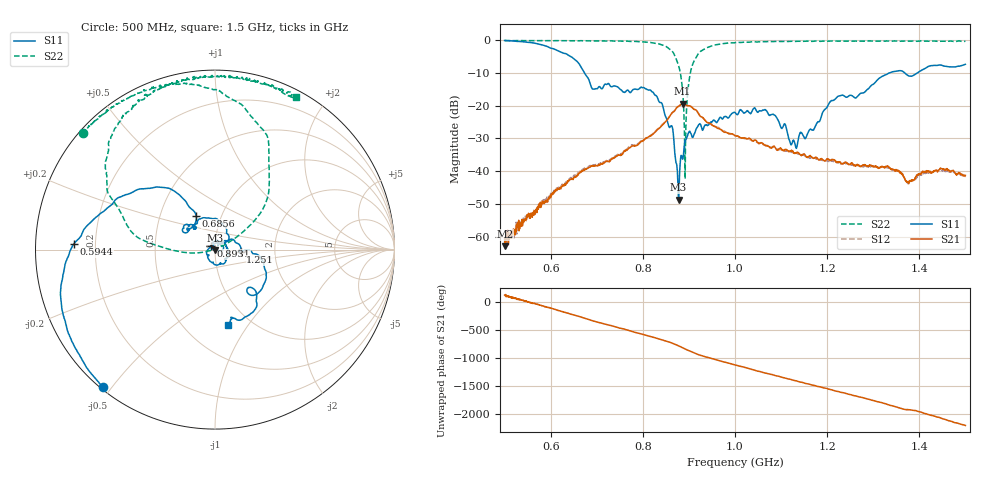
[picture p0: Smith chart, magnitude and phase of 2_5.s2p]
!Agilent Technologies,E8364B,US42250235,A.06.04.32
!Agilent E8364B: A.06.04.32
!Date: Friday, January 15, 2021 12:29:11
!Correction: S11(Full 2 Port(1,2)) S21(Full 2 Port(1,2)) S12(Full 2 Port(1,2)) S22(Full 2 Port(1,2))
!S2P File: Measurements: S11, S21, S12, S22:
# Hz S  dB  R 50
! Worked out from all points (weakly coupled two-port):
!   1601 points, 500 MHz to 1.5 GHz, reference 50 ohm
!   highest |S21| = -19.39 dB at 886.2 MHz (marker M1); lowest = -62.9 dB at 500.6 MHz (marker M2)
!   lowest |S11| = -48.7 dB at 877.5 MHz (marker M3), VSWR 1.01, Z = 50 - j0.366 ohm
!   |S11| at or under -10 dB: 673.1 MHz to 1.335 GHz (662.2 MHz wide, 65.9 % of centre); 1.368 GHz to 1.396 GHz (27.73 MHz wide, 2.01 % of centre)
!   |S22| runs from -42.3 to -0.1 dB; largest |S21 - S12| = 0.012
!   S11 on the Smith chart (normalised r, x): 500 MHz: 0.01, -0.48; 594.4 MHz: 0.12, +0.02; 685.6 MHz: 0.76, +0.30; 893.1 MHz: 0.96, +0.04; 1.251 GHz: 1.33, -0.03; 1.5 GHz: 0.79, -0.82
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5e8  -0.11 -129.1  -60.25 113.8  -61.35 117.9  -0.15 138.4
5.00625e8  -0.10 -129.4  -62.88 107.1  -62.25 122.6  -0.16 138.5
5.94375e8  -2.06 177.8  -48.59 -106.8  -48.12 -109.0  -0.16 129.7
6.66875e8  -8.46 123.8  -40.20 79.3  -39.72 74.6  -0.18 122.1
6.85625e8  -13.29 119.0  -38.63 31.7  -38.23 27.3  -0.23 120.1
8.3375e8  -18.35 57.4  -27.11 57.5  -26.92 50.8  -1.10 88.0
8.625e8  -26.12 15.0  -22.36 -17.9  -22.44 -24.2  -3.22 64.8
8.775e8  -48.69 -84.9  -20.22 -69.9  -20.19 -75.8  -7.76 44.5
8.8625e8  -36.33 146.6  -19.39 -104.3  -19.42 -110.5  -15.59 31.5
8.93125e8  -30.48 133.9  -19.79 -131.7  -19.80 -137.8  -27.63 -167.3
9.03125e8  -28.19 104.4  -20.12 -166.4  -20.12 -173.3  -9.98 176.3
9.18125e8  -26.63 92.5  -21.78 141.4  -21.89 135.1  -4.67 156.9
1e9  -22.09 -18.8  -29.23 -49.1  -29.03 -55.8  -0.78 120.4
1.065625e9  -21.26 -83.7  -32.19 166.5  -31.98 159.0  -0.49 109.9
1.13125e9  -32.36 113.8  -34.57 29.9  -34.37 21.4  -0.39 101.8
1.166875e9  -27.38 38.6  -35.64 -47.9  -35.89 -51.7  -0.37 97.8
1.2075e9  -18.67 28.4  -36.67 -127.2  -36.85 -134.3  -0.29 93.1
1.25125e9  -16.84 -5.1  -37.70 141.0  -37.90 132.3  -0.32 88.8
1.33375e9  -10.08 -24.3  -38.62 -40.5  -39.00 -46.8  -0.28 81.0
1.375e9  -10.77 -52.1  -43.23 -123.5  -43.80 -135.1  -0.31 76.8
1.448125e9  -7.65 -71.8  -39.22 78.4  -39.76 73.2  -0.34 68.5
1.5e9  -7.38 -79.9  -41.28 -47.2  -41.51 -54.3  -0.33 62.0
